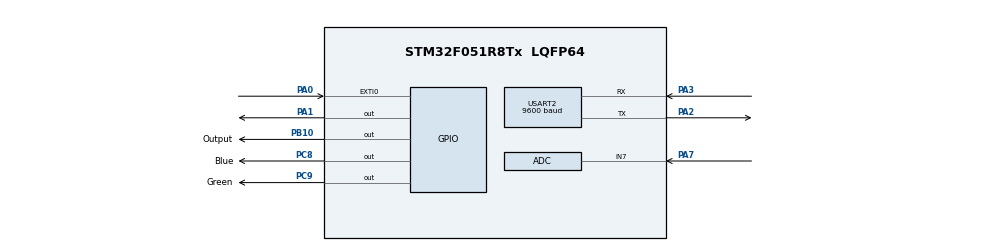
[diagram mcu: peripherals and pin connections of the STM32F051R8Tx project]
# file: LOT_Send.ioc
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Dma.Request0=USART2_RX
Dma.Request1=USART2_TX
Dma.USART2_RX.0.Direction=DMA_PERIPH_TO_MEMORY
Dma.USART2_RX.0.Instance=DMA1_Channel5
Dma.USART2_RX.0.MemDataAlignment=DMA_MDATAALIGN_BYTE
Dma.USART2_RX.0.MemInc=DMA_MINC_ENABLE
Dma.USART2_RX.0.Mode=DMA_NORMAL
Dma.USART2_RX.0.PeriphDataAlignment=DMA_PDATAALIGN_BYTE
Dma.USART2_RX.0.PeriphInc=DMA_PINC_DISABLE
Dma.USART2_RX.0.Priority=DMA_PRIORITY_LOW
Dma.USART2_TX.1.Direction=DMA_MEMORY_TO_PERIPH
Dma.USART2_TX.1.Instance=DMA1_Channel4
Dma.USART2_TX.1.MemDataAlignment=DMA_MDATAALIGN_BYTE
Dma.USART2_TX.1.MemInc=DMA_MINC_ENABLE
Dma.USART2_TX.1.Mode=DMA_NORMAL
Dma.USART2_TX.1.PeriphDataAlignment=DMA_PDATAALIGN_BYTE
Dma.USART2_TX.1.PeriphInc=DMA_PINC_DISABLE
Dma.USART2_TX.1.Priority=DMA_PRIORITY_LOW
Mcu.Family=STM32F0
Mcu.Name=STM32F051R8Tx
Mcu.Package=LQFP64
NVIC.DMA1_Channel4_5_IRQn=true\:0\:0\:false\:false\:true\:false\:true\:true
NVIC.EXTI0_1_IRQn=true\:0\:0\:false\:false\:true\:true\:true\:true
NVIC.USART2_IRQn=true\:0\:0\:false\:false\:true\:true\:true\:true
PA0.Signal=GPXTI0
PA1.Signal=GPIO_Output
PA2.Mode=Asynchronous
PA2.Signal=USART2_TX
PA3.Mode=Asynchronous
PA3.Signal=USART2_RX
PA7.Mode=IN7
PA7.Signal=ADC_IN7
PB10.GPIO_Label=Output
PB10.GPIO_PuPd=GPIO_NOPULL
PB10.Signal=GPIO_Output
PC8.GPIO_Label=Blue
PC8.GPIO_PuPd=GPIO_PULLDOWN
PC8.Signal=GPIO_Output
PC9.GPIO_Label=Green
PC9.Signal=GPIO_Output
ProjectManager.HeapSize=0x200
ProjectManager.StackSize=0x400
ProjectManager.TargetToolchain=STM32CubeIDE
USART2.BaudRate=9600
USART2.VirtualMode-Asynchronous=VM_ASYNC
board=custom

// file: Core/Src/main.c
/* USER CODE BEGIN Header */
/**
  ******************************************************************************
  * @file           : main.c
  * @brief          : Main program body
  ******************************************************************************
  * @attention
  *
  * Copyright (c) 2022 STMicroelectronics.
  * All rights reserved.
  *
  * This software is licensed under terms that can be found in the LICENSE file
  * in the root directory of this software component.
  * If no LICENSE file comes with this software, it is provided AS-IS.
  *
  ******************************************************************************
  */
/* USER CODE END Header */
#include "main.h"

/* USER CODE BEGIN Includes */
#include <stdbool.h>
/* USER CODE END Includes */

/* USER CODE BEGIN PD */
#define Out_Pin	GPIO_PIN_10
#define Out_Port GPIOB
#define BAUDRATE 10   //bits per second
/* USER CODE END PD */

 ADC_HandleTypeDef hadc;

UART_HandleTypeDef huart2;
DMA_HandleTypeDef hdma_usart2_rx;
DMA_HandleTypeDef hdma_usart2_tx;

/* USER CODE BEGIN PV */
uint32_t delayTime = 1000/BAUDRATE;
bool buttonFlag = false;
uint8_t numSamples =0;

uint32_t current =0;
uint32_t prev =0;
/* USER CODE END PV */

void SystemClock_Config(void);
static void MX_GPIO_Init(void);
static void MX_DMA_Init(void);
static void MX_ADC_Init(void);
static void MX_USART2_UART_Init(void);
/* USER CODE BEGIN PFP */
uint32_t pollADC(void);
uint32_t ADCtoCRR(uint32_t adc_val);
void lot_Transmit(uint32_t data);
void EXTI0_1_IRQHandler(void);
void sendSample(uint32_t sample);
void SendCheckPoint(uint32_t num);
/* USER CODE END PFP */

int main(void)
{

  /* MCU Configuration--------------------------------------------------------*/

  /* Reset of all peripherals, Initializes the Flash interface and the Systick. */
  HAL_Init();

  /* Configure the system clock */
  SystemClock_Config();

  /* Initialize all configured peripherals */
  MX_GPIO_Init();
  MX_DMA_Init();
  MX_ADC_Init();
  MX_USART2_UART_Init();
  /* USER CODE BEGIN 2 */
  HAL_GPIO_WritePin(Out_Port, Out_Pin, GPIO_PIN_RESET);
  //HAL_Delay(3000);
  //SendCheckPoint(5);
  //sendSample(10000);
  /* USER CODE END 2 */

  /* Infinite loop */
  while (1)
  {

    /* USER CODE BEGIN 3 */
	  if (buttonFlag){
		  uint32_t sample = pollADC();
		  sendSample(sample);
		  numSamples++;
		  buttonFlag = false;
		  if (numSamples==2){
			  SendCheckPoint(numSamples);
		  }
	  }
  }
  /* USER CODE END 3 */
}

void SystemClock_Config(void)
{
  RCC_OscInitTypeDef RCC_OscInitStruct = {0};
  RCC_ClkInitTypeDef RCC_ClkInitStruct = {0};

  /** Initializes the RCC Oscillators according to the specified parameters
  * in the RCC_OscInitTypeDef structure.
  */
  RCC_OscInitStruct.OscillatorType = RCC_OSCILLATORTYPE_HSI|RCC_OSCILLATORTYPE_HSI14;
  RCC_OscInitStruct.HSIState = RCC_HSI_ON;
  RCC_OscInitStruct.HSI14State = RCC_HSI14_ON;
  RCC_OscInitStruct.HSICalibrationValue = RCC_HSICALIBRATION_DEFAULT;
  RCC_OscInitStruct.HSI14CalibrationValue = 16;
  RCC_OscInitStruct.PLL.PLLState = RCC_PLL_NONE;
  if (HAL_RCC_OscConfig(&RCC_OscInitStruct) != HAL_OK)
  {
    Error_Handler();
  }

  /** Initializes the CPU, AHB and APB buses clocks
  */
  RCC_ClkInitStruct.ClockType = RCC_CLOCKTYPE_HCLK|RCC_CLOCKTYPE_SYSCLK
                              |RCC_CLOCKTYPE_PCLK1;
  RCC_ClkInitStruct.SYSCLKSource = RCC_SYSCLKSOURCE_HSI;
  RCC_ClkInitStruct.AHBCLKDivider = RCC_SYSCLK_DIV1;
  RCC_ClkInitStruct.APB1CLKDivider = RCC_HCLK_DIV1;

  if (HAL_RCC_ClockConfig(&RCC_ClkInitStruct, FLASH_LATENCY_0) != HAL_OK)
  {
    Error_Handler();
  }
}

static void MX_ADC_Init(void)
{

  ADC_ChannelConfTypeDef sConfig = {0};

  /** Configure the global features of the ADC (Clock, Resolution, Data Alignment and number of conversion)
  */
  hadc.Instance = ADC1;
  hadc.Init.ClockPrescaler = ADC_CLOCK_ASYNC_DIV1;
  hadc.Init.Resolution = ADC_RESOLUTION_12B;
  hadc.Init.DataAlign = ADC_DATAALIGN_RIGHT;
  hadc.Init.ScanConvMode = ADC_SCAN_DIRECTION_FORWARD;
  hadc.Init.EOCSelection = ADC_EOC_SINGLE_CONV;
  hadc.Init.LowPowerAutoWait = DISABLE;
  hadc.Init.LowPowerAutoPowerOff = DISABLE;
  hadc.Init.ContinuousConvMode = DISABLE;
  hadc.Init.DiscontinuousConvMode = DISABLE;
  hadc.Init.ExternalTrigConv = ADC_SOFTWARE_START;
  hadc.Init.ExternalTrigConvEdge = ADC_EXTERNALTRIGCONVEDGE_NONE;
  hadc.Init.DMAContinuousRequests = DISABLE;
  hadc.Init.Overrun = ADC_OVR_DATA_PRESERVED;
  if (HAL_ADC_Init(&hadc) != HAL_OK)
  {
    Error_Handler();
  }

  /** Configure for the selected ADC regular channel to be converted.
  */
  sConfig.Channel = ADC_CHANNEL_7;
  sConfig.Rank = ADC_RANK_CHANNEL_NUMBER;
  sConfig.SamplingTime = ADC_SAMPLETIME_1CYCLE_5;
  if (HAL_ADC_ConfigChannel(&hadc, &sConfig) != HAL_OK)
  {
    Error_Handler();
  }

}

static void MX_USART2_UART_Init(void)
{

  huart2.Instance = USART2;
  huart2.Init.BaudRate = 9600;
  huart2.Init.WordLength = UART_WORDLENGTH_8B;
  huart2.Init.StopBits = UART_STOPBITS_1;
  huart2.Init.Parity = UART_PARITY_NONE;
  huart2.Init.Mode = UART_MODE_TX_RX;
  huart2.Init.HwFlowCtl = UART_HWCONTROL_NONE;
  huart2.Init.OverSampling = UART_OVERSAMPLING_16;
  huart2.Init.OneBitSampling = UART_ONE_BIT_SAMPLE_DISABLE;
  huart2.AdvancedInit.AdvFeatureInit = UART_ADVFEATURE_NO_INIT;
  if (HAL_UART_Init(&huart2) != HAL_OK)
  {
    Error_Handler();
  }

}

static void MX_DMA_Init(void)
{

  /* DMA controller clock enable */
  __HAL_RCC_DMA1_CLK_ENABLE();

  /* DMA interrupt init */
  /* DMA1_Channel4_5_IRQn interrupt configuration */
  HAL_NVIC_SetPriority(DMA1_Channel4_5_IRQn, 0, 0);
  HAL_NVIC_EnableIRQ(DMA1_Channel4_5_IRQn);

}

static void MX_GPIO_Init(void)
{
  GPIO_InitTypeDef GPIO_InitStruct = {0};

  /* GPIO Ports Clock Enable */
  __HAL_RCC_GPIOA_CLK_ENABLE();
  __HAL_RCC_GPIOB_CLK_ENABLE();
  __HAL_RCC_GPIOC_CLK_ENABLE();

  /*Configure GPIO pin Output Level */
  HAL_GPIO_WritePin(GPIOA, GPIO_PIN_1, GPIO_PIN_RESET);

  /*Configure GPIO pin Output Level */
  HAL_GPIO_WritePin(Output_GPIO_Port, Output_Pin, GPIO_PIN_RESET);

  /*Configure GPIO pin Output Level */
  HAL_GPIO_WritePin(GPIOC, Blue_Pin|Green_Pin, GPIO_PIN_RESET);

  /*Configure GPIO pin : PA0 */
  GPIO_InitStruct.Pin = GPIO_PIN_0;
  GPIO_InitStruct.Mode = GPIO_MODE_IT_RISING;
  GPIO_InitStruct.Pull = GPIO_NOPULL;
  HAL_GPIO_Init(GPIOA, &GPIO_InitStruct);

  /*Configure GPIO pin : PA1 */
  GPIO_InitStruct.Pin = GPIO_PIN_1;
  GPIO_InitStruct.Mode = GPIO_MODE_OUTPUT_PP;
  GPIO_InitStruct.Pull = GPIO_NOPULL;
  GPIO_InitStruct.Speed = GPIO_SPEED_FREQ_LOW;
  HAL_GPIO_Init(GPIOA, &GPIO_InitStruct);

  /*Configure GPIO pin : Output_Pin */
  GPIO_InitStruct.Pin = Output_Pin;
  GPIO_InitStruct.Mode = GPIO_MODE_OUTPUT_PP;
  GPIO_InitStruct.Pull = GPIO_NOPULL;
  GPIO_InitStruct.Speed = GPIO_SPEED_FREQ_LOW;
  HAL_GPIO_Init(Output_GPIO_Port, &GPIO_InitStruct);

  /*Configure GPIO pin : Blue_Pin */
  GPIO_InitStruct.Pin = Blue_Pin;
  GPIO_InitStruct.Mode = GPIO_MODE_OUTPUT_PP;
  GPIO_InitStruct.Pull = GPIO_PULLDOWN;
  GPIO_InitStruct.Speed = GPIO_SPEED_FREQ_LOW;
  HAL_GPIO_Init(Blue_GPIO_Port, &GPIO_InitStruct);

  /*Configure GPIO pin : Green_Pin */
  GPIO_InitStruct.Pin = Green_Pin;
  GPIO_InitStruct.Mode = GPIO_MODE_OUTPUT_PP;
  GPIO_InitStruct.Pull = GPIO_NOPULL;
  GPIO_InitStruct.Speed = GPIO_SPEED_FREQ_LOW;
  HAL_GPIO_Init(Green_GPIO_Port, &GPIO_InitStruct);

  /* EXTI interrupt init*/
  HAL_NVIC_SetPriority(EXTI0_1_IRQn, 0, 0);
  HAL_NVIC_EnableIRQ(EXTI0_1_IRQn);

}

/* USER CODE BEGIN 4 */
uint32_t pollADC(void){
	//TO DO:
	//TASK 2
	// Complete the function body
	HAL_ADC_Start(&hadc);
	HAL_ADC_PollForConversion(&hadc, 100);
	uint32_t val = HAL_ADC_GetValue(&hadc);
	HAL_ADC_Stop(&hadc);
	return val;
}

uint32_t ADCtoCRR(uint32_t adc_val){
	//TO DO:
	//TASK 2
	// Complete the function body
	//HINT: The CRR value for 100% DC is 47999 (DC = CRR/ARR = CRR/47999)
	//HINT: The ADC range is approx 0 - 4095
	//HINT: Scale number from 0-4096 to 0 - 47999
	uint32_t val = (47999/4096) * adc_val;

	return val;
}

void lot_Transmit(uint32_t data){
	uint8_t countBits = 0;    //counter to keep track of bits
	uint8_t numPackets=0;    //number of 8-bit packets to send
	uint8_t bits[32] =  { 0 };

	//converting 32 bit integer to binary data packet
	while(data > 0){
		bits[countBits] = data%2;   //get last bit
		data = data >> 1;           //shift binary number left
		countBits++;
	}
	//count the number of 8-bit packets
	numPackets = ((countBits-1)/8)+1;

	//write data packet 8 bits at a time
	for(int i=0;i<numPackets;i++){
		//write start bit
		HAL_GPIO_WritePin(Out_Port, Out_Pin, 1);
		HAL_GPIO_WritePin(GPIOC, GPIO_PIN_8, 1);
		HAL_Delay(delayTime);
		//write data packets
		for(uint8_t j=i*8;j<(i*8+8);j++){
			//HAL_GPIO_WritePin(Out_Port, Out_Pin, bits[j]);
			HAL_GPIO_WritePin(Out_Port, Out_Pin, bits[j]);
			HAL_GPIO_WritePin(GPIOC, GPIO_PIN_8, bits[j]);
 			HAL_Delay(delayTime);
		}
	}
	//write last stop bit
	HAL_GPIO_WritePin(Out_Port, Out_Pin, 0);
	HAL_GPIO_WritePin(GPIOC, GPIO_PIN_8, 0);
}

void sendSample(uint32_t sample){
	//send the id message 10 for ADC sample transmission
	HAL_GPIO_WritePin(Out_Port, Out_Pin, 1);  //write 1 to pin
	HAL_Delay(delayTime);
	HAL_GPIO_WritePin(Out_Port, Out_Pin, 0);  //write 0  to pin
	HAL_Delay(delayTime);

	//send sample
	lot_Transmit(sample);

}
void SendCheckPoint(uint32_t num){
	//send checkpoint id message 11 for checkpoint transmission
	HAL_GPIO_WritePin(Out_Port, Out_Pin, 1);
	HAL_Delay(delayTime);
	HAL_GPIO_WritePin(Out_Port, Out_Pin, 1);
	HAL_Delay(delayTime);

	//send checkpoint
	lot_Transmit(num);
}

void EXTI0_1_IRQHandler(void)
{
	uint32_t current = HAL_GetTick();
	if ((current-prev>150) && GPIO_PIN_0 == 1){
		buttonFlag = true;
		prev = current;
	}
	HAL_GPIO_EXTI_IRQHandler(GPIO_PIN_0); // Clear interrupt flags
}

/* USER CODE END 4 */

void Error_Handler(void)
{
  __disable_irq();
  while (1)
  {
  }
}
